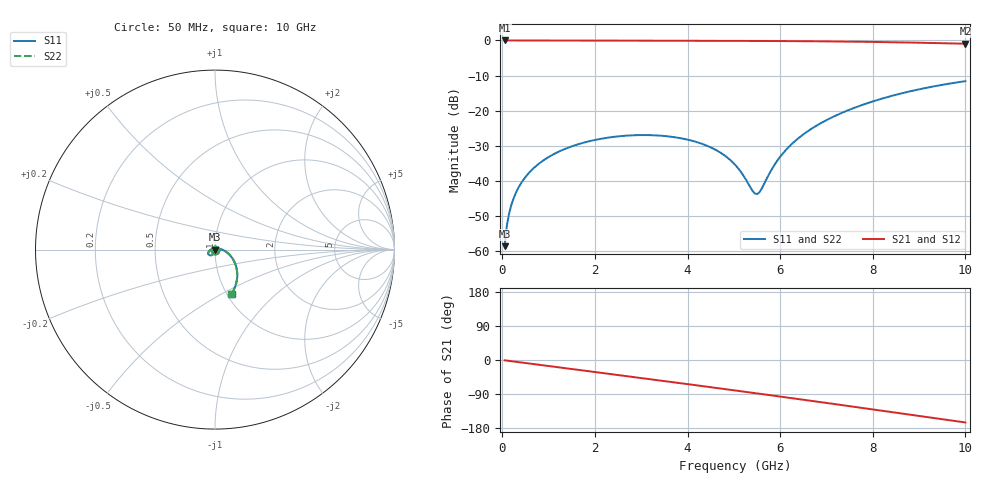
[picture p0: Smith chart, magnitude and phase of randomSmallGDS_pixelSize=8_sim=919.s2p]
! freq	dB(S11)	phase(S11)	dB(S12)	phase(S12)
!  dB(S21)	phase(S21)	dB(S22)	phase(S22)
!S-par simulation data
#  GHz  S  DB  R 50
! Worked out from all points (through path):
!   200 points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, 50 MHz to 10 GHz, reference 50 ohm
!   highest |S21| = 0.00 dB at 50 MHz (marker M1); lowest = -0.9 dB at 10 GHz (marker M2)
!   group delay of S21, straight-line fit = 45.7 ps
!   lowest |S11| = -58.6 dB at 50 MHz (marker M3), VSWR 1.00, Z = 50 - j0.118 ohm
!   |S11| at or under -10 dB: start of sweep to end of sweep
!   |S22| runs from -58.6 to -11.6 dB; largest |S21 - S12| = 0
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0.05  -58.57 -90.0  -0.00 -0.8  -0.00 -0.8  -58.57 -90.0
0.1  -52.58 -91.7  -0.00 -1.6  -0.00 -1.6  -52.58 -91.7
0.2  -46.64 -94.0  -0.00 -3.2  -0.00 -3.2  -46.64 -94.0
0.35  -41.89 -96.7  -0.00 -5.6  -0.00 -5.6  -41.89 -96.7
0.5  -38.89 -99.2  -0.01 -8.0  -0.01 -8.0  -38.89 -99.2
1  -33.19 -107.3  -0.02 -15.9  -0.02 -15.9  -33.19 -107.3
1.75  -29.13 -119.7  -0.03 -27.8  -0.03 -27.8  -29.13 -119.7
2.55  -27.24 -133.1  -0.05 -40.5  -0.05 -40.5  -27.24 -133.0
3.4  -27.09 -147.8  -0.07 -54.0  -0.07 -54.0  -27.09 -147.7
4.4  -29.87 -167.8  -0.09 -70.1  -0.09 -70.1  -29.87 -167.6
4.75  -32.28 -177.4  -0.11 -75.8  -0.11 -75.8  -32.29 -177.2
5.05  -35.74 169.7  -0.12 -80.7  -0.12 -80.7  -35.75 170.1
5.4  -42.76 124.1  -0.13 -86.5  -0.13 -86.5  -42.89 124.7
5.5  -43.75 92.2  -0.14 -88.1  -0.14 -88.1  -43.92 92.2
5.6  -42.25 60.8  -0.14 -89.8  -0.14 -89.8  -42.38 60.4
6.05  -32.29 11.3  -0.17 -97.3  -0.17 -97.3  -32.31 11.0
6.35  -28.31 0.6  -0.19 -102.3  -0.19 -102.3  -28.32 0.3
6.7  -24.94 -8.5  -0.23 -108.2  -0.23 -108.2  -24.95 -8.7
7.45  -19.96 -24.1  -0.32 -121.0  -0.32 -121.0  -19.96 -24.2
8.35  -15.99 -40.8  -0.49 -136.4  -0.49 -136.4  -16.00 -40.9
9.2  -13.37 -55.8  -0.69 -151.1  -0.69 -151.1  -13.37 -55.9
10  -11.59 -69.5  -0.93 -164.8  -0.93 -164.8  -11.60 -69.6
